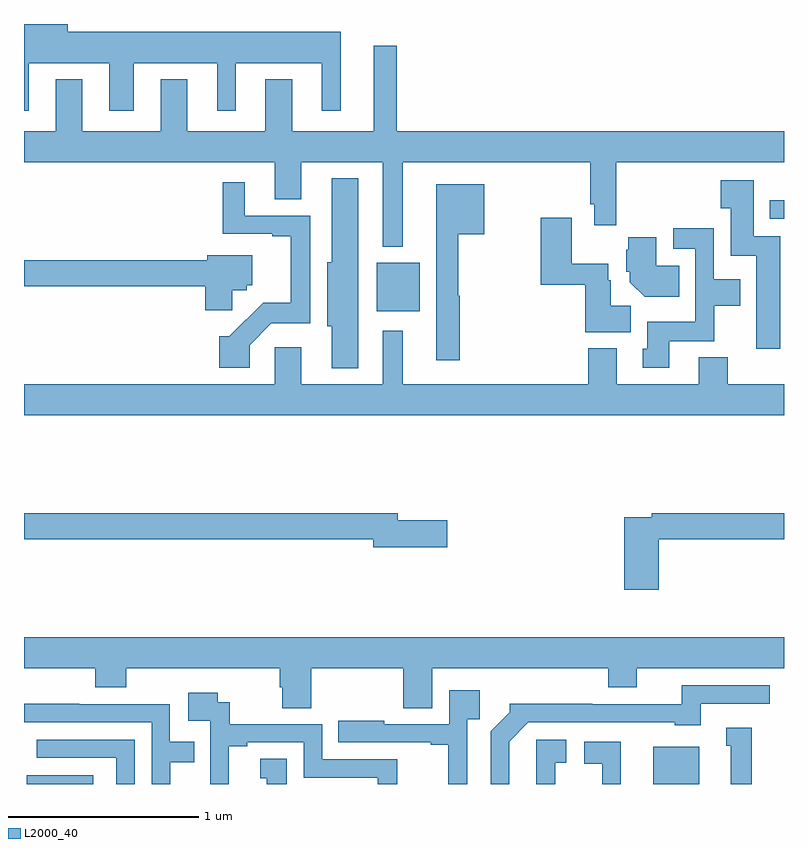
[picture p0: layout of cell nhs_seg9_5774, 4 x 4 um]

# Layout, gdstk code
import gdstk
lib = gdstk.Library(unit=1e-6, precision=1e-09)
def R(c, l, rs):  # rectangles x0, y0, x1, y1
    for r in rs: c.add(gdstk.rectangle(r[:2], r[2:], *l))
def P(c, l, *ps):  # polygons
    for p in ps: c.add(gdstk.Polygon(p, *l))
L2000_40 = (2000, 40)

nhs_seg9_5774 = lib.new_cell('nhs_seg9_5774')
R(nhs_seg9_5774, L2000_40, [(447.014,1174.5,447.364,1174.546), (450.311,1174.5,450.553,1174.696), (448.856,1176.989,449.083,1177.243), (450.926,1177.476,451,1177.573)])
P(nhs_seg9_5774, L2000_40, [(447.025,1178.294),(447.449,1178.294),(447.449,1178.043),(447.577,1178.043),(447.577,1178.294),(448.016,1178.294),(448.016,1178.043),(448.114,1178.043),(448.114,1178.294),(448.568,1178.294),(448.568,1178.043),(448.666,1178.043),(448.666,1178.458),(447.229,1178.458),(447.229,1178.5),(447,1178.5),(447,1178.043),(447.025,1178.043)],
  [(448.993,1177.772),(449.98,1177.772),(449.98,1177.552),(450,1177.552),(450,1177.44),(450.116,1177.44),(450.116,1177.772),(451,1177.772),(451,1177.936),(448.963,1177.936),(448.963,1178.386),(448.841,1178.386),(448.841,1177.936),(448.411,1177.936),(448.411,1178.209),(448.271,1178.209),(448.271,1177.936),(447.859,1177.936),(447.859,1178.209),(447.719,1178.209),(447.719,1177.936),(447.307,1177.936),(447.307,1178.209),(447.167,1178.209),(447.167,1177.936),(447,1177.936),(447,1177.772),(448.319,1177.772),(448.319,1177.578),(448.459,1177.578),(448.459,1177.772),(448.889,1177.772),(448.889,1177.328),(448.993,1177.328)],
  [(448.759,1177.687),(448.619,1177.687),(448.619,1177.245),(448.595,1177.245),(448.595,1176.909),(448.619,1176.909),(448.619,1176.689),(448.759,1176.689)],
  [(450.979,1177.383),(450.841,1177.383),(450.841,1177.678),(450.668,1177.678),(450.668,1177.531),(450.719,1177.531),(450.719,1177.28),(450.854,1177.28),(450.854,1176.792),(450.979,1176.792)],
  [(448.188,1176.81),(448.302,1176.924),(448.507,1176.924),(448.507,1177.491),(448.162,1177.491),(448.162,1177.666),(448.045,1177.666),(448.045,1177.395),(448.307,1177.395),(448.307,1177.383),(448.403,1177.383),(448.403,1177.034),(448.259,1177.034),(448.081,1176.856),(448.028,1176.856),(448.028,1176.69),(448.188,1176.69)],
  [(449.293,1177.07),(449.285,1177.07),(449.285,1177.394),(449.422,1177.394),(449.422,1177.657),(449.171,1177.657),(449.171,1176.729),(449.293,1176.729)],
  [(450.193,1177.016),(450.088,1177.016),(450.088,1177.152),(450.076,1177.152),(450.076,1177.237),(449.884,1177.237),(449.884,1177.48),(449.719,1177.48),(449.719,1177.127),(449.954,1177.127),(449.954,1176.878),(450.193,1176.878)],
  [(450.397,1176.83),(450.633,1176.83),(450.633,1177.016),(450.769,1177.016),(450.769,1177.156),(450.63,1177.156),(450.63,1177.426),(450.417,1177.426),(450.417,1177.317),(450.534,1177.317),(450.534,1176.934),(450.281,1176.934),(450.281,1176.792),(450.257,1176.792),(450.257,1176.69),(450.397,1176.69)],
  [(450.449,1177.228),(450.328,1177.228),(450.328,1177.378),(450.181,1177.378),(450.181,1177.311),(450.17,1177.311),(450.17,1177.197),(450.188,1177.197),(450.188,1177.142),(450.266,1177.064),(450.449,1177.064)],
  [(448.097,1177.098),(448.173,1177.098),(448.173,1177.125),(448.201,1177.125),(448.201,1177.282),(447.965,1177.282),(447.965,1177.256),(447,1177.256),(447,1177.12),(447.953,1177.12),(447.953,1176.993),(448.097,1176.993)],
  [(451,1176.604),(450.704,1176.604),(450.704,1176.745),(450.551,1176.745),(450.551,1176.604),(450.121,1176.604),(450.121,1176.793),(449.969,1176.793),(449.969,1176.604),(448.993,1176.604),(448.993,1176.886),(448.889,1176.886),(448.889,1176.604),(448.459,1176.604),(448.459,1176.799),(448.32,1176.799),(448.32,1176.604),(447,1176.604),(447,1176.44),(451,1176.44)],
  [(450.341,1175.788),(451,1175.788),(451,1175.924),(450.304,1175.924),(450.304,1175.904),(450.158,1175.904),(450.158,1175.523),(450.341,1175.523)],
  [(449.227,1175.888),(448.966,1175.888),(448.966,1175.924),(447,1175.924),(447,1175.788),(448.838,1175.788),(448.838,1175.746),(449.227,1175.746)],
  [(448.511,1175.108),(448.997,1175.108),(448.997,1174.9),(449.149,1174.9),(449.149,1175.108),(450.074,1175.108),(450.074,1175.009),(450.226,1175.009),(450.226,1175.108),(451,1175.108),(451,1175.272),(447,1175.272),(447,1175.108),(447.374,1175.108),(447.374,1175.009),(447.539,1175.009),(447.539,1175.108),(448.346,1175.108),(448.346,1175.01),(448.358,1175.01),(448.358,1174.9),(448.511,1174.9)],
  [(449.554,1174.723),(449.655,1174.824),(450.426,1174.824),(450.426,1174.808),(450.562,1174.808),(450.562,1174.923),(450.926,1174.923),(450.926,1175.019),(450.463,1175.019),(450.463,1174.92),(449.99,1174.92),(449.99,1174.922),(449.556,1174.922),(449.556,1174.877),(449.457,1174.778),(449.457,1174.5),(449.554,1174.5)],
  [(449.334,1174.841),(449.399,1174.841),(449.399,1174.993),(449.238,1174.993),(449.238,1174.815),(448.897,1174.815),(448.897,1174.834),(448.654,1174.834),(448.654,1174.719),(449.141,1174.719),(449.141,1174.707),(449.233,1174.707),(449.233,1174.5),(449.334,1174.5)],
  [(448.078,1174.699),(448.174,1174.699),(448.174,1174.719),(448.473,1174.719),(448.473,1174.533),(448.863,1174.533),(448.863,1174.5),(448.964,1174.5),(448.964,1174.629),(448.569,1174.629),(448.569,1174.815),(448.082,1174.815),(448.082,1174.929),(448.02,1174.929),(448.02,1174.981),(447.864,1174.981),(447.864,1174.833),(447.981,1174.833),(447.981,1174.529),(447.98,1174.529),(447.98,1174.5),(448.078,1174.5)],
  [(447.769,1174.614),(447.896,1174.614),(447.896,1174.722),(447.768,1174.722),(447.768,1174.92),(447.29,1174.92),(447.29,1174.922),(447,1174.922),(447,1174.824),(447.672,1174.824),(447.672,1174.5),(447.769,1174.5)],
  [(450.829,1174.795),(450.695,1174.795),(450.695,1174.701),(450.719,1174.701),(450.719,1174.5),(450.829,1174.5)],
  [(447.582,1174.734),(447.066,1174.734),(447.066,1174.638),(447.486,1174.638),(447.486,1174.5),(447.582,1174.5)],
  [(449.796,1174.611),(449.854,1174.611),(449.854,1174.732),(449.696,1174.732),(449.696,1174.5),(449.796,1174.5)],
  [(450.142,1174.722),(449.949,1174.722),(449.949,1174.606),(450.043,1174.606),(450.043,1174.5),(450.142,1174.5)],
  [(448.384,1174.634),(448.244,1174.634),(448.244,1174.531),(448.277,1174.531),(448.277,1174.5),(448.384,1174.5)])

lib.write_gds('nhs_seg9_5774.gds')
